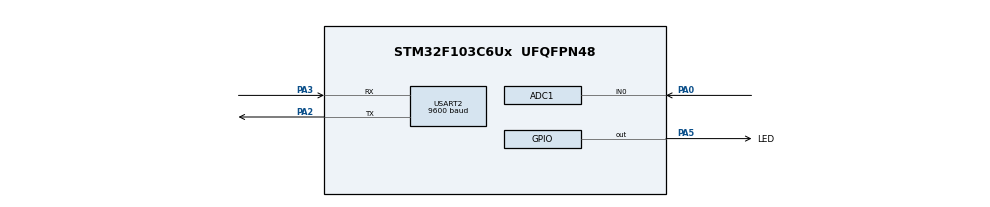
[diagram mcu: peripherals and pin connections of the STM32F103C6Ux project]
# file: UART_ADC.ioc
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ADC1.Channel-0\#ChannelRegularConversion=ADC_CHANNEL_0
ADC1.ContinuousConvMode=ENABLE
ADC1.NbrOfConversionFlag=1
ADC1.Rank-0\#ChannelRegularConversion=1
ADC1.SamplingTime-0\#ChannelRegularConversion=ADC_SAMPLETIME_1CYCLE_5
ADC1.master=1
Mcu.Family=STM32F1
Mcu.Name=STM32F103C6Ux
Mcu.Package=UFQFPN48
NVIC.ADC1_2_IRQn=true\:0\:0\:false\:false\:true\:true\:true
NVIC.PriorityGroup=NVIC_PRIORITYGROUP_4
NVIC.TIM2_IRQn=true\:0\:0\:false\:false\:true\:true\:true
NVIC.USART2_IRQn=true\:0\:0\:false\:false\:true\:true\:true
PA0-WKUP.Signal=ADCx_IN0
PA2.Mode=Asynchronous
PA2.Signal=USART2_TX
PA3.Mode=Asynchronous
PA3.Signal=USART2_RX
PA5.GPIO_Label=LED
PA5.Signal=GPIO_Output
ProjectManager.HeapSize=0x200
ProjectManager.StackSize=0x400
ProjectManager.TargetToolchain=STM32CubeIDE
RCC.APB1Freq_Value=8000000
RCC.APB2Freq_Value=8000000
SH.ADCx_IN0.0=ADC1_IN0,IN0
TIM2.Period=9
TIM2.Prescaler=7999
USART2.BaudRate=9600
USART2.VirtualMode=VM_ASYNC
VP_SYS_VS_ND.Mode=No_Debug
VP_TIM2_VS_ClockSourceINT.Mode=Internal
board=custom

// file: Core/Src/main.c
/* USER CODE BEGIN Header */
/**
  ******************************************************************************
  * @file           : main.c
  * @brief          : Main program body
  ******************************************************************************
  * @attention
  *
  * <h2><center>&copy; Copyright (c) 2022 STMicroelectronics.
  * All rights reserved.</center></h2>
  *
  * This software component is licensed by ST under BSD 3-Clause license,
  * the "License"; You may not use this file except in compliance with the
  * License. You may obtain a copy of the License at:
  *                        opensource.org/licenses/BSD-3-Clause
  *
  ******************************************************************************
  */
/* USER CODE END Header */
#include "main.h"

/* USER CODE BEGIN Includes */
#include <stdio.h>
#include <string.h>
#include "timer.h"
//#include "command_parser_fsm.h"
//#include "uart_communication_fsm.h"
/* USER CODE END Includes */

ADC_HandleTypeDef hadc1;

TIM_HandleTypeDef htim2;

UART_HandleTypeDef huart2;

void SystemClock_Config(void);
static void MX_GPIO_Init(void);
static void MX_ADC1_Init(void);
static void MX_USART2_UART_Init(void);
static void MX_TIM2_Init(void);

/* USER CODE BEGIN 0 */
#define MAX_BUFFER_SIZE  	30
#define TIME_OUT			3000
#define RST_COMMAND			1
#define OK_COMMAND			2
#define WAITING				3

uint8_t temp = 0;
uint8_t buffer[MAX_BUFFER_SIZE];
uint8_t index_buffer = 0;
uint8_t buffer_flag = 0;
uint32_t ADC_value = 0;

uint8_t rst_command[5] = {'!', 'R', 'S', 'T', '#'};
uint8_t ok_command[4] = {'!', 'O', 'K', '#'};

int command_data = 0;
int command_flag = 0;

char str[50];
void HAL_UART_RxCpltCallback(UART_HandleTypeDef *huart){
	if(huart->Instance == USART2){
		//HAL_UART_Transmit(&huart2, &temp, 1, 50);
		buffer[index_buffer++] = temp;
		if (index_buffer == MAX_BUFFER_SIZE)
			index_buffer = 5;
		buffer_flag = 1;
		HAL_UART_Receive_IT(&huart2, &temp, 1);
	}
}

void validate_command(){
	switch (command_data) {
		case 4:
			for (int i = 0; i < 4; ++i) {
				if (buffer[i] != ok_command[i])
					return;
			}
			command_flag = OK_COMMAND;
			break;
		case 5:
			for (int i = 0; i < 5; ++i) {
				if (buffer[i] != rst_command[i])
					return;
			}
				command_flag = RST_COMMAND;
			break;
		default:
			break;
	}
}

void command_parser_fsm(){
	switch (temp) {
		case 13:
			//ENTER KEY
			validate_command();
			command_data = 0;
			index_buffer = 0;
			break;
		case 8:
			//BACKSPACE
			if (command_data > 0)
				command_data--;
			if (command_data < 5 && command_data >= 0)
				index_buffer = command_data;
			break;
		default:
			command_data++;
			break;
	}
}

void uart_communiation_fsm(){
	switch (command_flag) {
		case RST_COMMAND:
			HAL_ADC_Start(&hadc1);
			ADC_value =  HAL_ADC_GetValue(&hadc1);
			HAL_UART_Transmit(&huart2, (void *)str, sprintf(str, "!ADC=%ld#\r\n", ADC_value), 1000);
			setTimer0(TIME_OUT);
			command_flag = WAITING;
			break;
		case OK_COMMAND:
			break;
		case WAITING:
			if (timer0_flag == 1){
				HAL_UART_Transmit(&huart2, (void *)str, sprintf(str, "!ADC=%ld#\r\n", ADC_value), 1000);
				setTimer0(TIME_OUT);
			}
			break;
		default:
			break;
	}

}
/* USER CODE END 0 */

int main(void)
{

  /* MCU Configuration--------------------------------------------------------*/

  /* Reset of all peripherals, Initializes the Flash interface and the Systick. */
  HAL_Init();

  /* Configure the system clock */
  SystemClock_Config();

  /* Initialize all configured peripherals */
  MX_GPIO_Init();
  MX_ADC1_Init();
  MX_USART2_UART_Init();
  MX_TIM2_Init();
  /* USER CODE BEGIN 2 */
  HAL_TIM_Base_Start_IT (& htim2 );
  HAL_UART_Receive_IT(&huart2, &temp, 1);
  //HAL_UART_Transmit(&huart2, &temp, 1, 5000);
  /* USER CODE END 2 */

  /* Infinite loop */
  /* USER CODE BEGIN WHILE */

  while (1)
  {
	  if (buffer_flag == 1){
		  command_parser_fsm();
		  buffer_flag = 0;
		  HAL_GPIO_TogglePin(LED_GPIO_Port, LED_Pin);
	  }
	  uart_communiation_fsm();

    /* USER CODE END WHILE */

  }
}

void SystemClock_Config(void)
{
  RCC_OscInitTypeDef RCC_OscInitStruct = {0};
  RCC_ClkInitTypeDef RCC_ClkInitStruct = {0};
  RCC_PeriphCLKInitTypeDef PeriphClkInit = {0};

  /** Initializes the RCC Oscillators according to the specified parameters
  * in the RCC_OscInitTypeDef structure.
  */
  RCC_OscInitStruct.OscillatorType = RCC_OSCILLATORTYPE_HSI;
  RCC_OscInitStruct.HSIState = RCC_HSI_ON;
  RCC_OscInitStruct.HSICalibrationValue = RCC_HSICALIBRATION_DEFAULT;
  RCC_OscInitStruct.PLL.PLLState = RCC_PLL_NONE;
  if (HAL_RCC_OscConfig(&RCC_OscInitStruct) != HAL_OK)
  {
    Error_Handler();
  }
  /** Initializes the CPU, AHB and APB buses clocks
  */
  RCC_ClkInitStruct.ClockType = RCC_CLOCKTYPE_HCLK|RCC_CLOCKTYPE_SYSCLK
                              |RCC_CLOCKTYPE_PCLK1|RCC_CLOCKTYPE_PCLK2;
  RCC_ClkInitStruct.SYSCLKSource = RCC_SYSCLKSOURCE_HSI;
  RCC_ClkInitStruct.AHBCLKDivider = RCC_SYSCLK_DIV1;
  RCC_ClkInitStruct.APB1CLKDivider = RCC_HCLK_DIV1;
  RCC_ClkInitStruct.APB2CLKDivider = RCC_HCLK_DIV1;

  if (HAL_RCC_ClockConfig(&RCC_ClkInitStruct, FLASH_LATENCY_0) != HAL_OK)
  {
    Error_Handler();
  }
  PeriphClkInit.PeriphClockSelection = RCC_PERIPHCLK_ADC;
  PeriphClkInit.AdcClockSelection = RCC_ADCPCLK2_DIV2;
  if (HAL_RCCEx_PeriphCLKConfig(&PeriphClkInit) != HAL_OK)
  {
    Error_Handler();
  }
}

static void MX_ADC1_Init(void)
{

  ADC_ChannelConfTypeDef sConfig = {0};

  /** Common config
  */
  hadc1.Instance = ADC1;
  hadc1.Init.ScanConvMode = ADC_SCAN_DISABLE;
  hadc1.Init.ContinuousConvMode = ENABLE;
  hadc1.Init.DiscontinuousConvMode = DISABLE;
  hadc1.Init.ExternalTrigConv = ADC_SOFTWARE_START;
  hadc1.Init.DataAlign = ADC_DATAALIGN_RIGHT;
  hadc1.Init.NbrOfConversion = 1;
  if (HAL_ADC_Init(&hadc1) != HAL_OK)
  {
    Error_Handler();
  }
  /** Configure Regular Channel
  */
  sConfig.Channel = ADC_CHANNEL_0;
  sConfig.Rank = ADC_REGULAR_RANK_1;
  sConfig.SamplingTime = ADC_SAMPLETIME_1CYCLE_5;
  if (HAL_ADC_ConfigChannel(&hadc1, &sConfig) != HAL_OK)
  {
    Error_Handler();
  }

}

static void MX_TIM2_Init(void)
{

  TIM_ClockConfigTypeDef sClockSourceConfig = {0};
  TIM_MasterConfigTypeDef sMasterConfig = {0};

  htim2.Instance = TIM2;
  htim2.Init.Prescaler = 7999;
  htim2.Init.CounterMode = TIM_COUNTERMODE_UP;
  htim2.Init.Period = 9;
  htim2.Init.ClockDivision = TIM_CLOCKDIVISION_DIV1;
  htim2.Init.AutoReloadPreload = TIM_AUTORELOAD_PRELOAD_DISABLE;
  if (HAL_TIM_Base_Init(&htim2) != HAL_OK)
  {
    Error_Handler();
  }
  sClockSourceConfig.ClockSource = TIM_CLOCKSOURCE_INTERNAL;
  if (HAL_TIM_ConfigClockSource(&htim2, &sClockSourceConfig) != HAL_OK)
  {
    Error_Handler();
  }
  sMasterConfig.MasterOutputTrigger = TIM_TRGO_RESET;
  sMasterConfig.MasterSlaveMode = TIM_MASTERSLAVEMODE_DISABLE;
  if (HAL_TIMEx_MasterConfigSynchronization(&htim2, &sMasterConfig) != HAL_OK)
  {
    Error_Handler();
  }

}

static void MX_USART2_UART_Init(void)
{

  huart2.Instance = USART2;
  huart2.Init.BaudRate = 9600;
  huart2.Init.WordLength = UART_WORDLENGTH_8B;
  huart2.Init.StopBits = UART_STOPBITS_1;
  huart2.Init.Parity = UART_PARITY_NONE;
  huart2.Init.Mode = UART_MODE_TX_RX;
  huart2.Init.HwFlowCtl = UART_HWCONTROL_NONE;
  huart2.Init.OverSampling = UART_OVERSAMPLING_16;
  if (HAL_UART_Init(&huart2) != HAL_OK)
  {
    Error_Handler();
  }

}

static void MX_GPIO_Init(void)
{
  GPIO_InitTypeDef GPIO_InitStruct = {0};

  /* GPIO Ports Clock Enable */
  __HAL_RCC_GPIOA_CLK_ENABLE();

  /*Configure GPIO pin Output Level */
  HAL_GPIO_WritePin(LED_GPIO_Port, LED_Pin, GPIO_PIN_RESET);

  /*Configure GPIO pin : LED_Pin */
  GPIO_InitStruct.Pin = LED_Pin;
  GPIO_InitStruct.Mode = GPIO_MODE_OUTPUT_PP;
  GPIO_InitStruct.Pull = GPIO_NOPULL;
  GPIO_InitStruct.Speed = GPIO_SPEED_FREQ_LOW;
  HAL_GPIO_Init(LED_GPIO_Port, &GPIO_InitStruct);

}

/* USER CODE BEGIN 4 */
void HAL_TIM_PeriodElapsedCallback ( TIM_HandleTypeDef * htim )
{
	timer_run();
}
/* USER CODE END 4 */

void Error_Handler(void)
{
  __disable_irq();
  while (1)
  {
  }
}

/************************ (C) COPYRIGHT STMicroelectronics *****END OF FILE****/
